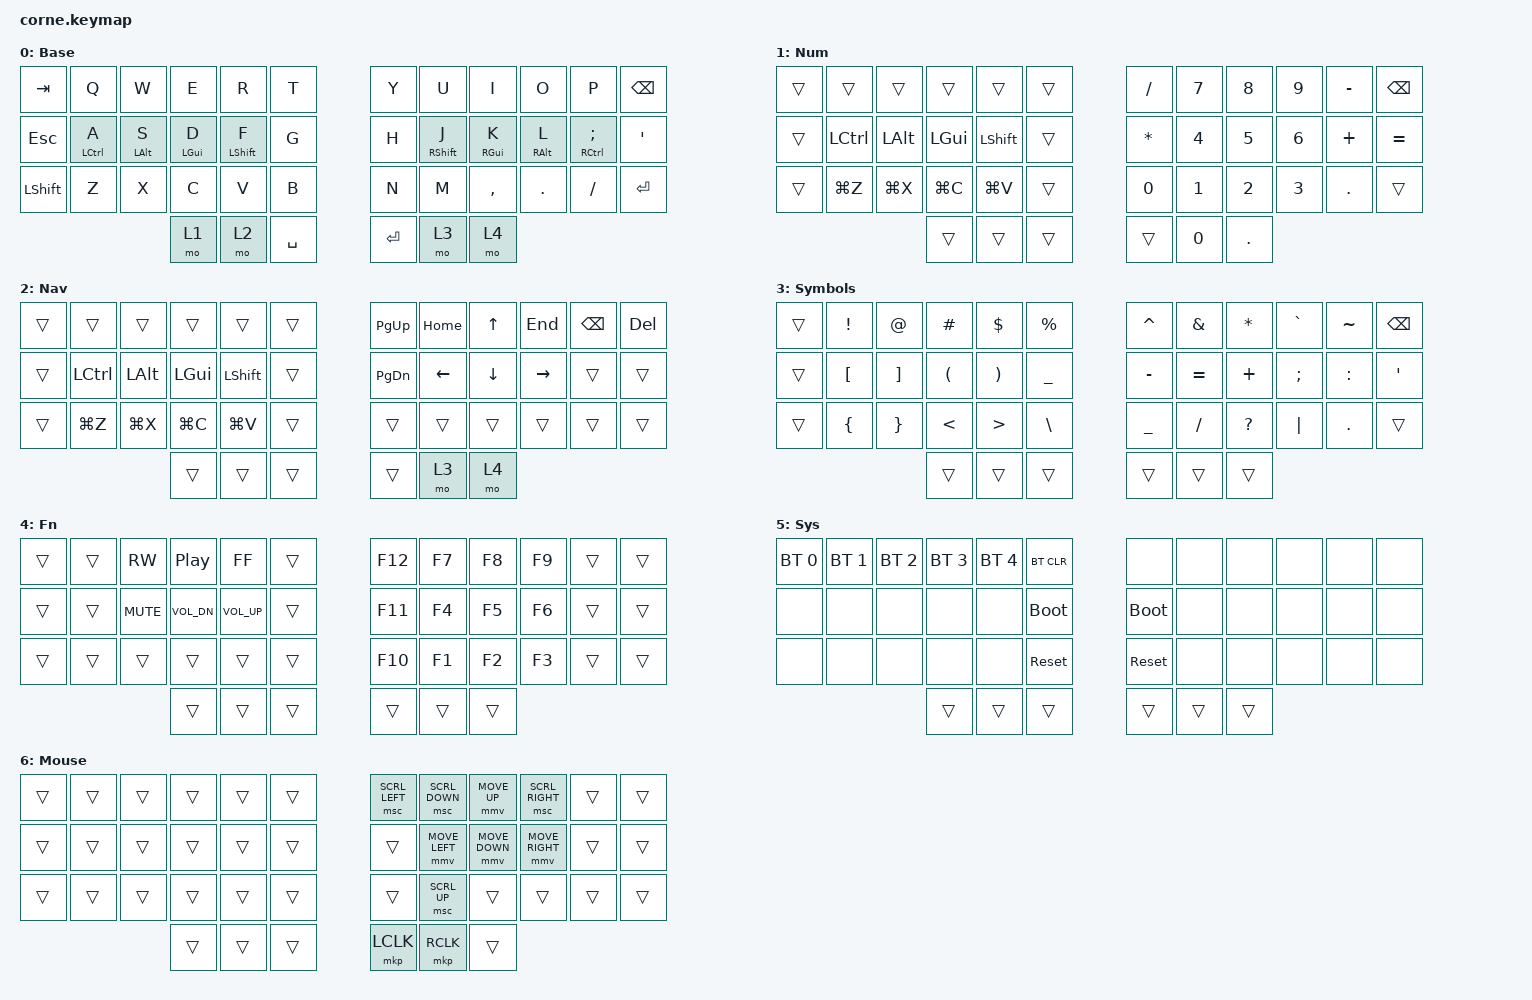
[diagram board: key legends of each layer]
#include <behaviors.dtsi>
#include <dt-bindings/zmk/bt.h>
#include <dt-bindings/zmk/keys.h>
#include <dt-bindings/zmk/pointing.h>

/ {
    macros {
        // Macros for the arrow operators

        fat_arrow: fat_arrow {
            compatible = "zmk,behavior-macro";
            #binding-cells = <0>;
            bindings = <&kp EQUAL &kp GT>;
        };

        thin_arrow: thin_arrow {
            compatible = "zmk,behavior-macro";
            #binding-cells = <0>;
            bindings = <&kp MINUS &kp GT>;
        };
    };

    behaviors {
        hml: hml {
            compatible = "zmk,behavior-hold-tap";
            label = "HML";
            bindings = <&kp>, <&kp>;

            #binding-cells = <2>;
            tapping-term-ms = <280>;
            quick-tap-ms = <175>;
            require-prior-idle-ms = <150>;
            flavor = "balanced";
            hold-trigger-key-positions = <36 37 38 39 40 41 6 7 8 9 10 18 19 20 21 22 30 31 32 33 34 11 23>;
            hold-trigger-on-release;
        };

        hmr: hmr {
            compatible = "zmk,behavior-hold-tap";
            label = "HMR";
            bindings = <&kp>, <&kp>;

            #binding-cells = <2>;
            tapping-term-ms = <280>;
            quick-tap-ms = <175>;
            require-prior-idle-ms = <150>;
            hold-trigger-key-positions = <39 40 41 36 37 38 1 2 3 4 5 13 14 15 16 17 25 26 27 28 29 36 37>;
            hold-trigger-on-release;
            flavor = "balanced";
        };
    };

    combos {
        compatible = "zmk,combos";

        // NEW: Safe Combo for "=>" (Top Row Right)

        combo_fat_arrow {
            timeout-ms = <40>;
            key-positions = <7 8>; // U and I
            bindings = <&fat_arrow>;
            layers = <0>;
        };

        // Cmd + Shift + R (Refactor / Reload)
        // Trigger: T + G (Left Index Barre Chord)

        reload_refactor {
            timeout-ms = <50>;
            key-positions = <5 17>; // T and G
            bindings = <&kp LS(LG(R))>;
        };
    };

    keymap {
        compatible = "zmk,keymap";

        Base {
            display-name = "Base";
            bindings = <
&kp TAB    &kp Q         &kp W        &kp E        &kp R          &kp T        &kp Y    &kp U          &kp I        &kp O        &kp P            &kp BSPC
&kp ESC    &hml LCTRL A  &hml LALT S  &hml LGUI D  &hml LSHIFT F  &kp G        &kp H    &hmr RSHIFT J  &hmr RGUI K  &hmr RALT L  &hmr RCTRL SEMI  &kp SQT
&kp LSHFT  &kp Z         &kp X        &kp C        &kp V          &kp B        &kp N    &kp M          &kp COMMA    &kp DOT      &kp FSLH         &kp RET
                                      &mo 1        &mo 2          &kp SPACE    &kp RET  &mo 3          &mo 4
            >;
        };

        // NUM: Left Hand = Modifiers | Right Hand = Numpad

        Num {
            display-name = "Num";
            bindings = <
&trans  &trans     &trans     &trans     &trans      &trans    &kp SLASH     &kp N7  &kp N8   &kp N9  &kp MINUS  &kp BSPC
&trans  &kp LCTRL  &kp LALT   &kp LGUI   &kp LSHIFT  &trans    &kp ASTERISK  &kp N4  &kp N5   &kp N6  &kp PLUS   &kp EQUAL
&trans  &kp LG(Z)  &kp LG(X)  &kp LG(C)  &kp LG(V)   &trans    &kp N0        &kp N1  &kp N2   &kp N3  &kp DOT    &trans
                              &trans     &trans      &trans    &trans        &kp N0  &kp DOT
            >;
        };

        // NAV: Left Hand = Modifiers | Right Hand = IJKL Arrows

        Nav {
            display-name = "Nav";
            bindings = <
&trans  &trans     &trans     &trans     &trans      &trans    &kp PG_UP  &kp HOME  &kp UP    &kp END    &kp BSPC  &kp DEL
&trans  &kp LCTRL  &kp LALT   &kp LGUI   &kp LSHIFT  &trans    &kp PG_DN  &kp LEFT  &kp DOWN  &kp RIGHT  &trans    &trans
&trans  &kp LG(Z)  &kp LG(X)  &kp LG(C)  &kp LG(V)   &trans    &trans     &trans    &trans    &trans     &trans    &trans
                              &trans     &trans      &trans    &trans     &mo 3     &mo 4
            >;
        };

        // SYM: Optimized for "Drum Roll" typing (Two-Handed Operators)
        // Left: Brackets | Right: Operators

        Symbols {
            display-name = "Symbols";
            bindings = <
&trans  &kp EXCL  &kp AT    &kp HASH  &kp DLLR  &kp PRCNT    &kp CARET  &kp AMPS   &kp STAR   &kp GRAVE  &kp TILDE  &kp BSPC
&trans  &kp LBKT  &kp RBKT  &kp LPAR  &kp RPAR  &kp UNDER    &kp MINUS  &kp EQUAL  &kp PLUS   &kp SEMI   &kp COLON  &kp SQT
&trans  &kp LBRC  &kp RBRC  &kp LT    &kp GT    &kp BSLH     &kp UNDER  &kp FSLH   &kp QMARK  &kp PIPE   &kp DOT    &trans
                            &trans    &trans    &trans       &trans     &trans     &trans
            >;
        };

        // FN Layer

        Fn {
            display-name = "Fn";
            bindings = <
&trans  &trans  &kp C_RW    &kp C_PP      &kp C_FF      &trans    &kp F12  &kp F7  &kp F8  &kp F9  &trans  &trans
&trans  &trans  &kp C_MUTE  &kp C_VOL_DN  &kp C_VOL_UP  &trans    &kp F11  &kp F4  &kp F5  &kp F6  &trans  &trans
&trans  &trans  &trans      &trans        &trans        &trans    &kp F10  &kp F1  &kp F2  &kp F3  &trans  &trans
                            &trans        &trans        &trans    &trans   &trans  &trans
            >;
        };

        // SYS Layer (Bluetooth / Reset)

        Sys {
            display-name = "Sys";
            bindings = <
&bt BT_SEL 0  &bt BT_SEL 1  &bt BT_SEL 2  &bt BT_SEL 3  &bt BT_SEL 4  &bt BT_CLR     &none        &none   &none   &none  &none  &none
&none         &none         &none         &none         &none         &bootloader    &bootloader  &none   &none   &none  &none  &none
&none         &none         &none         &none         &none         &sys_reset     &sys_reset   &none   &none   &none  &none  &none
                                          &trans        &trans        &trans         &trans       &trans  &trans
            >;
        };

        // MOUSE Layer

        Mouse {
            display-name = "Mouse";
            bindings = <
&trans  &trans  &trans  &trans  &trans  &trans    &msc SCRL_LEFT  &msc SCRL_DOWN  &mmv MOVE_UP    &msc SCRL_RIGHT  &trans  &trans
&trans  &trans  &trans  &trans  &trans  &trans    &trans          &mmv MOVE_LEFT  &mmv MOVE_DOWN  &mmv MOVE_RIGHT  &trans  &trans
&trans  &trans  &trans  &trans  &trans  &trans    &trans          &msc SCRL_UP    &trans          &trans           &trans  &trans
                        &trans  &trans  &trans    &mkp LCLK       &mkp RCLK       &trans
            >;
        };
    };

    conditional_layers {
        compatible = "zmk,conditional-layers";

        Sys {
            if-layers = <2 3>;
            then-layer = <5>;
        };

        Mouse {
            if-layers = <1 2>;
            then-layer = <6>;
        };
    };
};
